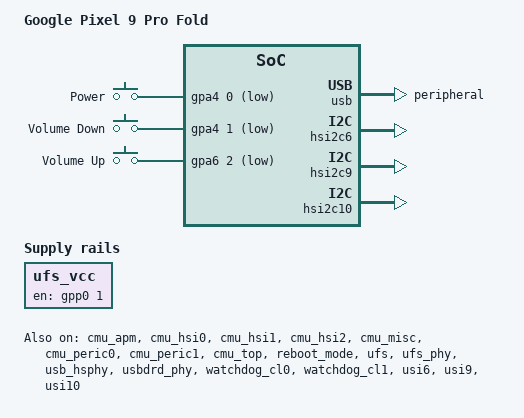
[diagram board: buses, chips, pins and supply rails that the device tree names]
// SPDX-License-Identifier: GPL-2.0-only
/*
 * Google Pixel 9 Pro Fold (comet).
 *
 * Bootloader selector values from Google's GPL zumapro device tree.
 * Copyright 2023 Google LLC.
 */

/dts-v1/;

#include <dt-bindings/gpio/gpio.h>
#include <dt-bindings/clock/google,zumapro-acpm.h>
#include <dt-bindings/input/linux-event-codes.h>
#include "../exynos-pinctrl.h"
#include "zumapro.dtsi"
#include "zumapro-reserved-memory.dtsi"
#include "zumapro-comet-haptics-torch.dtsi"
#include "zumapro-comet-nfc.dtsi"
#include "zumapro-comet-battery.dtsi"
#include "zumapro-comet-dvfs.dtsi"

/ {
	model = "Google Pixel 9 Pro Fold";
	compatible = "google,zumapro-comet", "google,zumapro";

	chosen {
		/*
		 * ABL requires bootargs to exist and appends its own after
		 * these. It also appends console=null, so a panic is silent:
		 * panic=10 resets the phone by itself.
		 * The firmware advertises PSCI SYSTEM_SUSPEND, but Linux has no
		 * Tensor SoC sleep sequence for "deep": suspend to idle only.
		 */
		bootargs = "clk_ignore_unused pd_ignore_unused panic=10 mem_sleep_default=s2idle";
	};

	/*
	 * ABL picks the base DTB by matching these children against the
	 * SoC's product id, revision and package. Comet stock images include FOPLP and IPOP parts.
	 */
	soc_compatible {
		A0_FOPLP {
			product_id = <0x9875>;
			major = <0>;
			minor = <0>;
			pkg_mode = <0>;
		};

		A1_FOPLP {
			product_id = <0x9875>;
			major = <0>;
			minor = <1>;
			pkg_mode = <0>;
		};

		A0_IPOP {
			product_id = <0x9875>;
			major = <0>;
			minor = <0>;
			pkg_mode = <1>;
		};

		A1_IPOP {
			product_id = <0x9875>;
			major = <0>;
			minor = <1>;
			pkg_mode = <1>;
		};
	};

	gpio-keys {
		compatible = "gpio-keys";

		key-power {
			label = "Power";
			linux,code = <KEY_POWER>;
			gpios = <&gpa4 0 GPIO_ACTIVE_LOW>;
			wakeup-source;
		};

		key-volume-down {
			label = "Volume Down";
			linux,code = <KEY_VOLUMEDOWN>;
			gpios = <&gpa4 1 GPIO_ACTIVE_LOW>;
		};

		key-volume-up {
			label = "Volume Up";
			linux,code = <KEY_VOLUMEUP>;
			gpios = <&gpa6 2 GPIO_ACTIVE_LOW>;
		};
	};

	/*
	 * The fold sensor: a TI DRV5032 Hall-effect switch on gpa2-3 that
	 * closes as the two halves come together, active low with no pull
	 * (Google's zuma-comet-hall-sensor.dtsi). It is one GPIO whose state
	 * is a lid switch, so gpio-keys reports it. Google's node also names
	 * interrupts = <4 0> on gpa2, but its driver takes the interrupt from
	 * the GPIO; gpa2-3 is the pin. A device of its own, so the keys above
	 * are unchanged and a desktop can match it by name.
	 */
	comet_hall: hall-keys {
		compatible = "gpio-keys";
		label = "Comet Hall";
		pinctrl-names = "default";
		pinctrl-0 = <&comet_hall_pin>;
		status = "disabled";

		switch-lid {
			label = "Hall Sensor";
			gpios = <&gpa2 3 GPIO_ACTIVE_LOW>;
			linux,input-type = <EV_SW>;
			linux,code = <SW_LID>;
		};
	};

	/*
	 * Shader rates from Google's GPL zuma-gpu.dtsi gpu_dvfs_table_v2,
	 * which comet inherits; ACPM pairs each with its L2 rate and owns the
	 * voltages. The top level, 940 MHz, is the highest comet runs.
	 */
	gpu_opp: opp-table-gpu {
		compatible = "operating-points-v2";

		opp-150000000 {
			opp-hz = /bits/ 64 <150000000>;
			opp-suspend;
		};

		opp-302000000 {
			opp-hz = /bits/ 64 <302000000>;
		};

		opp-337000000 {
			opp-hz = /bits/ 64 <337000000>;
		};

		opp-376000000 {
			opp-hz = /bits/ 64 <376000000>;
		};

		opp-419000000 {
			opp-hz = /bits/ 64 <419000000>;
		};

		opp-467000000 {
			opp-hz = /bits/ 64 <467000000>;
		};

		opp-521000000 {
			opp-hz = /bits/ 64 <521000000>;
		};

		opp-580000000 {
			opp-hz = /bits/ 64 <580000000>;
		};

		opp-649000000 {
			opp-hz = /bits/ 64 <649000000>;
		};

		opp-723000000 {
			opp-hz = /bits/ 64 <723000000>;
		};

		opp-807000000 {
			opp-hz = /bits/ 64 <807000000>;
		};

		opp-850000000 {
			opp-hz = /bits/ 64 <850000000>;
		};

		opp-890000000 {
			opp-hz = /bits/ 64 <890000000>;
		};

		opp-940000000 {
			opp-hz = /bits/ 64 <940000000>;
		};
	};

	/* UFS VCC, switched by gpp0-1 as on stock. */
	ufs_vcc: regulator-ufs-vcc {
		compatible = "regulator-fixed";
		regulator-name = "ufs-vcc";
		gpio = <&gpp0 1 GPIO_ACTIVE_HIGH>;
		enable-active-high;
		regulator-boot-on;
		regulator-always-on;
	};
};

/*
 * Further firmware carve-outs, as the bootloader's DT on comet reserves them,
 * without the three ABL inserts itself (see zuma.dtsi).
 * The GSA's protected region stays at the SoC's size: comet's bootloader DT
 * asks for 4 MiB, which would overlap the separate GSA log region.
 */
&{/reserved-memory} {
	abl@f8800000 {
		reg = <0x0 0xf8800000 0x01000000>;
		no-map;
	};

};

&acpm_ipc {
	status = "okay";

	main_pmic: pmic-1 {
		compatible = "samsung,s2mpg14-pmic";

		regulators {
			/* The eUSB2 PHY's supplies; it switches them itself. */
			eusb_vdd: ldo8m {
				regulator-name = "eusb-vdd";
			};

			eusb_vdda12: ldo9m {
				regulator-name = "eusb-vdda12";
			};
		};
	};
};

&ap2apm_mailbox {
	status = "okay";
};

&apm_sram {
	status = "okay";
};

&cmu_apm {
	status = "okay";
};

&cmu_hsi0 {
	status = "okay";
};

&cmu_hsi1 {
	status = "okay";
};

&cmu_hsi2 {
	status = "okay";
};

&cmu_misc {
	status = "okay";
};

&cmu_peric0 {
	status = "okay";
};

&cmu_peric1 {
	status = "okay";
};

&cmu_top {
	status = "okay";
};

/*
 * The GPU, disabled: its core clock is ACPM's, which also sets the
 * voltage, and the coregroup and stacks clocks are CMU_G3D's gates.
 */
&gpu {
	clocks = <&acpm_ipc ZUMAPRO_CLK_ACPM_GPU>,
		 <&cmu_g3d CLK_GOUT_G3D_COREGROUP>,
		 <&cmu_g3d CLK_GOUT_G3D_STACKS>;
	operating-points-v2 = <&gpu_opp>;
};

/* The keys' banks raise their own interrupts. */
&gpa4 {
	interrupt-controller;
	#interrupt-cells = <2>;
	interrupts = <GIC_SPI 28 IRQ_TYPE_LEVEL_HIGH>,
		     <GIC_SPI 29 IRQ_TYPE_LEVEL_HIGH>;
};

&gpa6 {
	interrupt-controller;
	#interrupt-cells = <2>;
	interrupts = <GIC_SPI 30 IRQ_TYPE_LEVEL_HIGH>,
		     <GIC_SPI 31 IRQ_TYPE_LEVEL_HIGH>,
		     <GIC_SPI 32 IRQ_TYPE_LEVEL_HIGH>,
		     <GIC_SPI 33 IRQ_TYPE_LEVEL_HIGH>,
		     <GIC_SPI 34 IRQ_TYPE_LEVEL_HIGH>,
		     <GIC_SPI 35 IRQ_TYPE_LEVEL_HIGH>;
};

/* The fold sensor's bank: wakeup EINTs, one GIC SPI per pin. */
&gpa2 {
	interrupt-controller;
	#interrupt-cells = <2>;
	interrupts = <GIC_SPI 20 IRQ_TYPE_LEVEL_HIGH>,
		     <GIC_SPI 21 IRQ_TYPE_LEVEL_HIGH>,
		     <GIC_SPI 22 IRQ_TYPE_LEVEL_HIGH>,
		     <GIC_SPI 23 IRQ_TYPE_LEVEL_HIGH>;
};

&pinctrl_alive {
	status = "okay";

	comet_hall_pin: hall-sensor-pins {
		samsung,pins = "gpa2-3";
		samsung,pin-function = <EXYNOS_PIN_FUNC_EINT>;
		samsung,pin-pud = <EXYNOS_PIN_PULL_NONE>;
		samsung,pin-drv = <0>;
	};
};

&pinctrl_custom_alive {
	status = "okay";
};

&pinctrl_far_alive {
	status = "okay";
};

&pinctrl_hsi1 {
	status = "okay";
};

&pinctrl_hsi2 {
	status = "okay";
};

&pinctrl_hsi2ufs {
	status = "okay";
};

&pinctrl_peric0 {
	status = "okay";
};

&pinctrl_peric1 {
	status = "okay";
};

&pmu_system_controller {
	status = "okay";
};

&reboot_mode {
	status = "okay";
};

&sysreg_apm {
	status = "okay";
};

&sysreg_hsi0 {
	status = "okay";
};

&sysreg_peric0 {
	status = "okay";
};

&sysreg_peric1 {
	status = "okay";
};

&sysreg_ufs {
	status = "okay";
};

/*
 * Built-in UFS attaches the disks before init runs. The init's storage
 * guard marks partitions read-only as soon as it starts, leaving only
 * slot B's boot images and userdata writable.
 */
&ufs {
	vcc-supply = <&ufs_vcc>;
	status = "okay";
};

&ufs_phy {
	status = "okay";
};

/* USB 2.0 peripheral, with the same controller setup as the Pixel 9a. */
&usb {
	clocks = <&cmu_hsi0 CLK_GOUT_HSI0_USB_LINK>,
		 <&cmu_hsi0 CLK_MOUT_HSI0_USB20_REF>,
		 <&cmu_hsi0 CLK_GOUT_HSI0_USB_SUSPEND>,
		 <&cmu_hsi0 CLK_GOUT_HSI0_USB_SUBCTL>;
	clock-names = "bus_early", "ref", "suspend", "subctl";
	dr_mode = "peripheral";
	maximum-speed = "high-speed";
	snps,dis-u2-freeclk-exists-quirk;
	snps,usb2-gadget-lpm-disable;
	status = "okay";
};

&usb_hsphy {
	vdd-supply = <&eusb_vdd>;
	vdda12-supply = <&eusb_vdda12>;
	status = "okay";
};

&usbdrd_phy {
	status = "okay";
};

&watchdog_cl0 {
	status = "okay";
};

&watchdog_cl1 {
	status = "okay";
};

/* Stock's ramoops layout for zumapro: console and pmsg, 2 MiB each. */
&ramoops_reserved {
	compatible = "ramoops";
	console-size = <0x200000>;
	pmsg-size = <0x200000>;
};

/*
 * The I2C buses with board devices: USI6 (the MAX77779), USI9 (haptics,
 * torch, NFC) and USI10 (the second gauge). Every client stays disabled.
 */
&usi6 {
	status = "okay";
};

&hsi2c6 {
	status = "okay";
};

&usi9 {
	status = "okay";
};

&hsi2c9 {
	status = "okay";
};

&usi10 {
	status = "okay";
};

&hsi2c10 {
	status = "okay";
};
